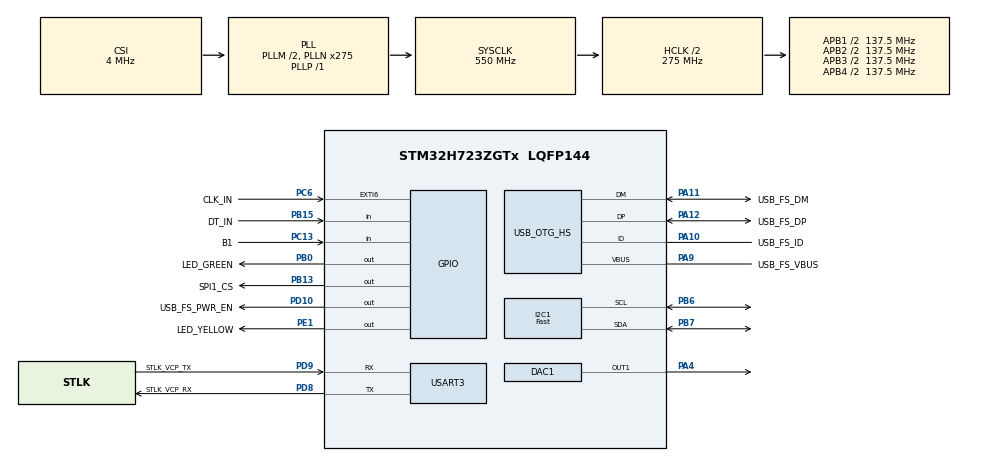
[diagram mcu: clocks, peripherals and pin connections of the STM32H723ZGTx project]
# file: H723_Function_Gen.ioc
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DAC1.DAC_Channel-DAC_OUT1=DAC_CHANNEL_1
DAC1.DAC_Trigger-DAC_OUT1=DAC_TRIGGER_T6_TRGO
Dma.DAC1_CH1.0.Direction=DMA_MEMORY_TO_PERIPH
Dma.DAC1_CH1.0.EventEnable=DISABLE
Dma.DAC1_CH1.0.FIFOMode=DMA_FIFOMODE_ENABLE
Dma.DAC1_CH1.0.FIFOThreshold=DMA_FIFO_THRESHOLD_3QUARTERSFULL
Dma.DAC1_CH1.0.Instance=DMA1_Stream0
Dma.DAC1_CH1.0.MemBurst=DMA_MBURST_SINGLE
Dma.DAC1_CH1.0.MemDataAlignment=DMA_MDATAALIGN_WORD
Dma.DAC1_CH1.0.MemInc=DMA_MINC_ENABLE
Dma.DAC1_CH1.0.Mode=DMA_CIRCULAR
Dma.DAC1_CH1.0.PeriphBurst=DMA_PBURST_SINGLE
Dma.DAC1_CH1.0.PeriphDataAlignment=DMA_PDATAALIGN_WORD
Dma.DAC1_CH1.0.PeriphInc=DMA_PINC_DISABLE
Dma.DAC1_CH1.0.Polarity=HAL_DMAMUX_REQ_GEN_RISING
Dma.DAC1_CH1.0.Priority=DMA_PRIORITY_LOW
Dma.DAC1_CH1.0.RequestNumber=1
Dma.DAC1_CH1.0.SignalID=NONE
Dma.DAC1_CH1.0.SyncEnable=DISABLE
Dma.DAC1_CH1.0.SyncPolarity=HAL_DMAMUX_SYNC_NO_EVENT
Dma.DAC1_CH1.0.SyncRequestNumber=1
Dma.DAC1_CH1.0.SyncSignalID=NONE
Dma.Request0=DAC1_CH1
I2C1.I2C_Speed_Mode=I2C_Fast
I2C1.Timing=0x00D049FB
Mcu.Family=STM32H7
Mcu.Name=STM32H723ZGTx
Mcu.Package=LQFP144
NVIC.DMA1_Stream0_IRQn=true\:0\:0\:false\:false\:true\:false\:true\:true
NVIC.EXTI9_5_IRQn=true\:0\:0\:false\:false\:true\:true\:true\:true
NVIC.PriorityGroup=NVIC_PRIORITYGROUP_4
PA10.GPIO_Label=USB_FS_ID
PA10.Mode=OTG/Dual-Role-Device-FS
PA10.Signal=USB_OTG_HS_ID
PA11.GPIO_Label=USB_FS_DM
PA11.Mode=OTG/Dual-Role-Device-FS
PA11.Signal=USB_OTG_HS_DM
PA12.GPIO_Label=USB_FS_DP
PA12.Mode=OTG/Dual-Role-Device-FS
PA12.Signal=USB_OTG_HS_DP
PA13(JTMS/SWDIO).GPIO_Label=SWDIO
PA13(JTMS/SWDIO).Mode=Trace_Asynchronous_SW
PA13(JTMS/SWDIO).Signal=DEBUG_JTMS-SWDIO
PA14(JTCK/SWCLK).GPIO_Label=SWCLK
PA14(JTCK/SWCLK).Mode=Trace_Asynchronous_SW
PA14(JTCK/SWCLK).Signal=DEBUG_JTCK-SWCLK
PA4.Signal=COMP_DAC11_group
PA9.GPIO_Label=USB_FS_VBUS
PA9.Mode=Activate_VBUS_FS
PA9.Signal=USB_OTG_HS_VBUS
PB0.GPIO_Label=LED_GREEN
PB0.Signal=GPIO_Output
PB13.GPIO_Label=SPI1_CS
PB13.GPIO_Speed=GPIO_SPEED_FREQ_HIGH
PB13.PinState=GPIO_PIN_SET
PB13.Signal=GPIO_Output
PB15.GPIO_Label=DT_IN
PB15.GPIO_PuPd=GPIO_PULLDOWN
PB15.Signal=GPIO_Input
PB3(JTDO/TRACESWO).GPIO_Label=SWO
PB3(JTDO/TRACESWO).Mode=Trace_Asynchronous_SW
PB3(JTDO/TRACESWO).Signal=DEBUG_JTDO-SWO
PB6.Mode=I2C
PB6.Signal=I2C1_SCL
PB7.Mode=I2C
PB7.Signal=I2C1_SDA
PC13.GPIO_Label=B1
PC13.GPIO_PuPd=GPIO_NOPULL
PC13.Signal=GPIO_Input
PC14-OSC32_IN.Mode=LSE-External-Oscillator
PC14-OSC32_IN.Signal=RCC_OSC32_IN
PC15-OSC32_OUT.Mode=LSE-External-Oscillator
PC15-OSC32_OUT.Signal=RCC_OSC32_OUT
PC6.GPIO_Label=CLK_IN
PC6.GPIO_ModeDefaultEXTI=GPIO_MODE_IT_RISING_FALLING
PC6.GPIO_PuPd=GPIO_PULLDOWN
PC6.Signal=GPXTI6
PD10.GPIO_Label=USB_FS_PWR_EN
PD10.Signal=GPIO_Output
PD7.GPIO_Speed=GPIO_SPEED_FREQ_VERY_HIGH
PD7.Signal=SPI1_MOSI
PD8.GPIO_Label=STLK_VCP_RX
PD8.Mode=Asynchronous
PD8.Signal=USART3_TX
PD9.GPIO_Label=STLK_VCP_TX
PD9.Mode=Asynchronous
PD9.Signal=USART3_RX
PE1.GPIO_Label=LED_YELLOW
PE1.Signal=GPIO_Output
PH0-OSC_IN.GPIO_Label=MCO
PH0-OSC_IN.Mode=HSE-External-Oscillator
PH0-OSC_IN.Signal=RCC_OSC_IN
PH1-OSC_OUT.Mode=HSE-External-Oscillator
PH1-OSC_OUT.Signal=RCC_OSC_OUT
ProjectManager.HeapSize=0x200
ProjectManager.StackSize=0x400
ProjectManager.TargetToolchain=STM32CubeIDE
RCC.ADCFreq_Value=38000000
RCC.APB1Freq_Value=137500000
RCC.APB2Freq_Value=137500000
RCC.APB3Freq_Value=137500000
RCC.APB4Freq_Value=137500000
RCC.CortexFreq_Value=550000000
RCC.D1PPRE=RCC_APB3_DIV2
RCC.D2PPRE1=RCC_APB1_DIV2
RCC.D2PPRE2=RCC_APB2_DIV2
RCC.D3PPRE=RCC_APB4_DIV2
RCC.DIVM1=2
RCC.DIVM2=1
RCC.DIVN1=275
RCC.DIVN2=19
RCC.DIVP1=1
RCC.DIVQ1=4
RCC.HCLKFreq_Value=275000000
RCC.HPRE=RCC_HCLK_DIV2
RCC.HSE_VALUE=8000000
RCC.PLLSourceVirtual=RCC_PLLSOURCE_CSI
RCC.SYSCLKFreq_VALUE=550000000
RCC.SYSCLKSource=RCC_SYSCLKSOURCE_PLLCLK
RCC.USBCLockSelection=RCC_USBCLKSOURCE_HSI48
RCC.USBFreq_Value=48000000
SH.COMP_DAC11_group.0=DAC1_OUT1,DAC_OUT1
TIM6.Period=13-1
TIM6.Prescaler=2-1
TIM6.TIM_MasterOutputTrigger=TIM_TRGO_UPDATE
USART3.VirtualMode-Asynchronous=VM_ASYNC
VP_TIM5_VS_ClockSourceINT.Mode=Internal
VP_TIM6_VS_ClockSourceINT.Mode=Enable_Timer
board=NUCLEO-H723ZG

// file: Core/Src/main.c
/* USER CODE BEGIN Header */
/**
  ******************************************************************************
  * @file           : main.c
  * @brief          : Main program body
  ******************************************************************************
  * @attention
  *
  * Copyright (c) 2024 STMicroelectronics.
  * All rights reserved.
  *
  * This software is licensed under terms that can be found in the LICENSE file
  * in the root directory of this software component.
  * If no LICENSE file comes with this software, it is provided AS-IS.
  *
  ******************************************************************************
  */
/* USER CODE END Header */
#include <wgen.h>
#include "main.h"

/* USER CODE BEGIN Includes */
#include "SH1106.h"
#include "fonts.h"
#include "stdio.h"
#include "bitmap.h"
#include "math.h"
/* USER CODE END Includes */

DAC_HandleTypeDef hdac1;
DMA_HandleTypeDef hdma_dac1_ch1;

I2C_HandleTypeDef hi2c1;

TIM_HandleTypeDef htim5;
TIM_HandleTypeDef htim6;

UART_HandleTypeDef huart3;

/* USER CODE BEGIN PV */

volatile uint16_t counter 						=  ROTARY_COUNTER_START;
volatile int8_t newDiff							=  0;
volatile uint8_t isrCalled						=  0;
volatile int8_t counterUp						=  ROTARY_DIRECTION_NONE;

/* USER CODE END PV */

void SystemClock_Config(void);
static void MX_GPIO_Init(void);
static void MX_USART3_UART_Init(void);
static void MX_I2C1_Init(void);
static void MX_DMA_Init(void);
static void MX_TIM5_Init(void);
static void MX_DAC1_Init(void);
static void MX_USB_OTG_HS_USB_Init(void);
static void MX_TIM6_Init(void);

/* USER CODE BEGIN 0 */

// Callback function for rotary encoder interrupt
void HAL_GPIO_EXTI_Callback(uint16_t GPIO_Pin){
	volatile static uint32_t lastInterruptTime	= 0;
	volatile static uint8_t lastCounterValue 	= 0;
	volatile uint32_t interruptTime	= HAL_GetTick();

	if(interruptTime - lastInterruptTime <= 3){
		lastInterruptTime = interruptTime;
		return;
	}
	if(HAL_GPIO_ReadPin(CLK_IN_GPIO_Port, CLK_IN_Pin) ==  GPIO_PIN_RESET){
		if(HAL_GPIO_ReadPin(DT_IN_GPIO_Port, DT_IN_Pin) == GPIO_PIN_RESET){
			counter++;
			counterUp 	= ROTARY_DIRECTION_CLOCK;
		}else{
			counter--;
			counterUp 	= ROTARY_DIRECTION_ANTICLOCK;
		}
	}else{
		if(HAL_GPIO_ReadPin(DT_IN_GPIO_Port, DT_IN_Pin) == GPIO_PIN_RESET){
			counter--;
			counterUp 	= ROTARY_DIRECTION_ANTICLOCK;
		}else{
			counter++;
			counterUp 	= ROTARY_DIRECTION_CLOCK;
		}
	}
	newDiff = counter - lastCounterValue;
	lastCounterValue = counter;
	isrCalled = 1;
	lastInterruptTime = interruptTime;
}

/* USER CODE END 0 */

int main(void)
{

  /* MCU Configuration--------------------------------------------------------*/

  /* Reset of all peripherals, Initializes the Flash interface and the Systick. */
  HAL_Init();

  /* Configure the system clock */
  SystemClock_Config();

  /* Initialize all configured peripherals */
  MX_GPIO_Init();
  MX_USART3_UART_Init();
  MX_I2C1_Init();
  MX_DMA_Init();
  MX_TIM5_Init();
  MX_DAC1_Init();
  MX_USB_OTG_HS_USB_Init();
  MX_TIM6_Init();
  /* USER CODE BEGIN 2 */

  // Initialize I2C OLED
  SH1106_Init();

  wGen_HandleTypeDef wGen;
  wGen = wGen_create();

  lcdInit(&wGen);

  HAL_TIM_Base_Start(&htim6);

  	// Block to update screen to display numbers
  	///////////////////////////////////////////////////////////////
	//  char buf[7];
	//  sprintf(buf, "%d", num);
	//  SH1106_GotoXY(2, 10);
	//  SH1106_Puts(buf, &Font_11x18, 1);
	//  SH1106_UpdateScreen();

  // Show title page for 2s, then goto the main page
  // displaySplashPage(&lcd);

  //updateCursor(&fGen, &lcd);
  //displayMainPage(&fGen, &lcd);

  /* USER CODE END 2 */

  /* Infinite loop */
  /* USER CODE BEGIN WHILE */
  	//convert buffer into 4 bit config + 12 bit data

  while (1){
	  loopUpdate(&wGen);
	  buttonUpdate(&wGen);
	//buttonUpdate(&fGen, &lcd);
    /* USER CODE END WHILE */

  }
}

void SystemClock_Config(void)
{
  RCC_OscInitTypeDef RCC_OscInitStruct = {0};
  RCC_ClkInitTypeDef RCC_ClkInitStruct = {0};

  /** Supply configuration update enable
  */
  HAL_PWREx_ConfigSupply(PWR_LDO_SUPPLY);

  /** Configure the main internal regulator output voltage
  */
  __HAL_PWR_VOLTAGESCALING_CONFIG(PWR_REGULATOR_VOLTAGE_SCALE0);

  while(!__HAL_PWR_GET_FLAG(PWR_FLAG_VOSRDY)) {}

  /** Initializes the RCC Oscillators according to the specified parameters
  * in the RCC_OscInitTypeDef structure.
  */
  RCC_OscInitStruct.OscillatorType = RCC_OSCILLATORTYPE_HSI48|RCC_OSCILLATORTYPE_CSI;
  RCC_OscInitStruct.HSI48State = RCC_HSI48_ON;
  RCC_OscInitStruct.CSIState = RCC_CSI_ON;
  RCC_OscInitStruct.CSICalibrationValue = 16;
  RCC_OscInitStruct.PLL.PLLState = RCC_PLL_ON;
  RCC_OscInitStruct.PLL.PLLSource = RCC_PLLSOURCE_CSI;
  RCC_OscInitStruct.PLL.PLLM = 2;
  RCC_OscInitStruct.PLL.PLLN = 275;
  RCC_OscInitStruct.PLL.PLLP = 1;
  RCC_OscInitStruct.PLL.PLLQ = 4;
  RCC_OscInitStruct.PLL.PLLR = 2;
  RCC_OscInitStruct.PLL.PLLRGE = RCC_PLL1VCIRANGE_1;
  RCC_OscInitStruct.PLL.PLLVCOSEL = RCC_PLL1VCOWIDE;
  RCC_OscInitStruct.PLL.PLLFRACN = 0;
  if (HAL_RCC_OscConfig(&RCC_OscInitStruct) != HAL_OK)
  {
    Error_Handler();
  }

  /** Initializes the CPU, AHB and APB buses clocks
  */
  RCC_ClkInitStruct.ClockType = RCC_CLOCKTYPE_HCLK|RCC_CLOCKTYPE_SYSCLK
                              |RCC_CLOCKTYPE_PCLK1|RCC_CLOCKTYPE_PCLK2
                              |RCC_CLOCKTYPE_D3PCLK1|RCC_CLOCKTYPE_D1PCLK1;
  RCC_ClkInitStruct.SYSCLKSource = RCC_SYSCLKSOURCE_PLLCLK;
  RCC_ClkInitStruct.SYSCLKDivider = RCC_SYSCLK_DIV1;
  RCC_ClkInitStruct.AHBCLKDivider = RCC_HCLK_DIV2;
  RCC_ClkInitStruct.APB3CLKDivider = RCC_APB3_DIV2;
  RCC_ClkInitStruct.APB1CLKDivider = RCC_APB1_DIV2;
  RCC_ClkInitStruct.APB2CLKDivider = RCC_APB2_DIV2;
  RCC_ClkInitStruct.APB4CLKDivider = RCC_APB4_DIV2;

  if (HAL_RCC_ClockConfig(&RCC_ClkInitStruct, FLASH_LATENCY_3) != HAL_OK)
  {
    Error_Handler();
  }
}

static void MX_DAC1_Init(void)
{

  DAC_ChannelConfTypeDef sConfig = {0};

  /** DAC Initialization
  */
  hdac1.Instance = DAC1;
  if (HAL_DAC_Init(&hdac1) != HAL_OK)
  {
    Error_Handler();
  }

  /** DAC channel OUT1 config
  */
  sConfig.DAC_SampleAndHold = DAC_SAMPLEANDHOLD_DISABLE;
  sConfig.DAC_Trigger = DAC_TRIGGER_T6_TRGO;
  sConfig.DAC_OutputBuffer = DAC_OUTPUTBUFFER_ENABLE;
  sConfig.DAC_ConnectOnChipPeripheral = DAC_CHIPCONNECT_DISABLE;
  sConfig.DAC_UserTrimming = DAC_TRIMMING_FACTORY;
  if (HAL_DAC_ConfigChannel(&hdac1, &sConfig, DAC_CHANNEL_1) != HAL_OK)
  {
    Error_Handler();
  }

}

static void MX_I2C1_Init(void)
{

  hi2c1.Instance = I2C1;
  hi2c1.Init.Timing = 0x00D049FB;
  hi2c1.Init.OwnAddress1 = 0;
  hi2c1.Init.AddressingMode = I2C_ADDRESSINGMODE_7BIT;
  hi2c1.Init.DualAddressMode = I2C_DUALADDRESS_DISABLE;
  hi2c1.Init.OwnAddress2 = 0;
  hi2c1.Init.OwnAddress2Masks = I2C_OA2_NOMASK;
  hi2c1.Init.GeneralCallMode = I2C_GENERALCALL_DISABLE;
  hi2c1.Init.NoStretchMode = I2C_NOSTRETCH_DISABLE;
  if (HAL_I2C_Init(&hi2c1) != HAL_OK)
  {
    Error_Handler();
  }

  /** Configure Analogue filter
  */
  if (HAL_I2CEx_ConfigAnalogFilter(&hi2c1, I2C_ANALOGFILTER_ENABLE) != HAL_OK)
  {
    Error_Handler();
  }

  /** Configure Digital filter
  */
  if (HAL_I2CEx_ConfigDigitalFilter(&hi2c1, 0) != HAL_OK)
  {
    Error_Handler();
  }

}

static void MX_TIM5_Init(void)
{

  TIM_ClockConfigTypeDef sClockSourceConfig = {0};
  TIM_MasterConfigTypeDef sMasterConfig = {0};

  htim5.Instance = TIM5;
  htim5.Init.Prescaler = 0;
  htim5.Init.CounterMode = TIM_COUNTERMODE_UP;
  htim5.Init.Period = 4294967295;
  htim5.Init.ClockDivision = TIM_CLOCKDIVISION_DIV1;
  htim5.Init.AutoReloadPreload = TIM_AUTORELOAD_PRELOAD_DISABLE;
  if (HAL_TIM_Base_Init(&htim5) != HAL_OK)
  {
    Error_Handler();
  }
  sClockSourceConfig.ClockSource = TIM_CLOCKSOURCE_INTERNAL;
  if (HAL_TIM_ConfigClockSource(&htim5, &sClockSourceConfig) != HAL_OK)
  {
    Error_Handler();
  }
  sMasterConfig.MasterOutputTrigger = TIM_TRGO_RESET;
  sMasterConfig.MasterSlaveMode = TIM_MASTERSLAVEMODE_DISABLE;
  if (HAL_TIMEx_MasterConfigSynchronization(&htim5, &sMasterConfig) != HAL_OK)
  {
    Error_Handler();
  }

}

static void MX_TIM6_Init(void)
{

  TIM_MasterConfigTypeDef sMasterConfig = {0};

  htim6.Instance = TIM6;
  htim6.Init.Prescaler = 2-1;
  htim6.Init.CounterMode = TIM_COUNTERMODE_UP;
  htim6.Init.Period = 13-1;
  htim6.Init.AutoReloadPreload = TIM_AUTORELOAD_PRELOAD_DISABLE;
  if (HAL_TIM_Base_Init(&htim6) != HAL_OK)
  {
    Error_Handler();
  }
  sMasterConfig.MasterOutputTrigger = TIM_TRGO_UPDATE;
  sMasterConfig.MasterSlaveMode = TIM_MASTERSLAVEMODE_DISABLE;
  if (HAL_TIMEx_MasterConfigSynchronization(&htim6, &sMasterConfig) != HAL_OK)
  {
    Error_Handler();
  }

}

static void MX_USART3_UART_Init(void)
{

  huart3.Instance = USART3;
  huart3.Init.BaudRate = 115200;
  huart3.Init.WordLength = UART_WORDLENGTH_8B;
  huart3.Init.StopBits = UART_STOPBITS_1;
  huart3.Init.Parity = UART_PARITY_NONE;
  huart3.Init.Mode = UART_MODE_TX_RX;
  huart3.Init.HwFlowCtl = UART_HWCONTROL_NONE;
  huart3.Init.OverSampling = UART_OVERSAMPLING_16;
  huart3.Init.OneBitSampling = UART_ONE_BIT_SAMPLE_DISABLE;
  huart3.Init.ClockPrescaler = UART_PRESCALER_DIV1;
  huart3.AdvancedInit.AdvFeatureInit = UART_ADVFEATURE_NO_INIT;
  if (HAL_UART_Init(&huart3) != HAL_OK)
  {
    Error_Handler();
  }
  if (HAL_UARTEx_SetTxFifoThreshold(&huart3, UART_TXFIFO_THRESHOLD_1_8) != HAL_OK)
  {
    Error_Handler();
  }
  if (HAL_UARTEx_SetRxFifoThreshold(&huart3, UART_RXFIFO_THRESHOLD_1_8) != HAL_OK)
  {
    Error_Handler();
  }
  if (HAL_UARTEx_DisableFifoMode(&huart3) != HAL_OK)
  {
    Error_Handler();
  }

}

static void MX_USB_OTG_HS_USB_Init(void)
{

}

static void MX_DMA_Init(void)
{

  /* DMA controller clock enable */
  __HAL_RCC_DMA1_CLK_ENABLE();

  /* DMA interrupt init */
  /* DMA1_Stream0_IRQn interrupt configuration */
  HAL_NVIC_SetPriority(DMA1_Stream0_IRQn, 0, 0);
  HAL_NVIC_EnableIRQ(DMA1_Stream0_IRQn);

}

static void MX_GPIO_Init(void)
{
  GPIO_InitTypeDef GPIO_InitStruct = {0};

  /* GPIO Ports Clock Enable */
  __HAL_RCC_GPIOC_CLK_ENABLE();
  __HAL_RCC_GPIOH_CLK_ENABLE();
  __HAL_RCC_GPIOA_CLK_ENABLE();
  __HAL_RCC_GPIOB_CLK_ENABLE();
  __HAL_RCC_GPIOD_CLK_ENABLE();
  __HAL_RCC_GPIOE_CLK_ENABLE();

  /*Configure GPIO pin Output Level */
  HAL_GPIO_WritePin(LED_GREEN_GPIO_Port, LED_GREEN_Pin, GPIO_PIN_RESET);

  /*Configure GPIO pin Output Level */
  HAL_GPIO_WritePin(SPI1_CS_GPIO_Port, SPI1_CS_Pin, GPIO_PIN_SET);

  /*Configure GPIO pin Output Level */
  HAL_GPIO_WritePin(USB_FS_PWR_EN_GPIO_Port, USB_FS_PWR_EN_Pin, GPIO_PIN_RESET);

  /*Configure GPIO pin Output Level */
  HAL_GPIO_WritePin(LED_YELLOW_GPIO_Port, LED_YELLOW_Pin, GPIO_PIN_RESET);

  /*Configure GPIO pin : B1_Pin */
  GPIO_InitStruct.Pin = B1_Pin;
  GPIO_InitStruct.Mode = GPIO_MODE_INPUT;
  GPIO_InitStruct.Pull = GPIO_NOPULL;
  HAL_GPIO_Init(B1_GPIO_Port, &GPIO_InitStruct);

  /*Configure GPIO pin : LED_GREEN_Pin */
  GPIO_InitStruct.Pin = LED_GREEN_Pin;
  GPIO_InitStruct.Mode = GPIO_MODE_OUTPUT_PP;
  GPIO_InitStruct.Pull = GPIO_NOPULL;
  GPIO_InitStruct.Speed = GPIO_SPEED_FREQ_LOW;
  HAL_GPIO_Init(LED_GREEN_GPIO_Port, &GPIO_InitStruct);

  /*Configure GPIO pin : SPI1_CS_Pin */
  GPIO_InitStruct.Pin = SPI1_CS_Pin;
  GPIO_InitStruct.Mode = GPIO_MODE_OUTPUT_PP;
  GPIO_InitStruct.Pull = GPIO_NOPULL;
  GPIO_InitStruct.Speed = GPIO_SPEED_FREQ_HIGH;
  HAL_GPIO_Init(SPI1_CS_GPIO_Port, &GPIO_InitStruct);

  /*Configure GPIO pin : DT_IN_Pin */
  GPIO_InitStruct.Pin = DT_IN_Pin;
  GPIO_InitStruct.Mode = GPIO_MODE_INPUT;
  GPIO_InitStruct.Pull = GPIO_PULLDOWN;
  HAL_GPIO_Init(DT_IN_GPIO_Port, &GPIO_InitStruct);

  /*Configure GPIO pin : USB_FS_PWR_EN_Pin */
  GPIO_InitStruct.Pin = USB_FS_PWR_EN_Pin;
  GPIO_InitStruct.Mode = GPIO_MODE_OUTPUT_PP;
  GPIO_InitStruct.Pull = GPIO_NOPULL;
  GPIO_InitStruct.Speed = GPIO_SPEED_FREQ_LOW;
  HAL_GPIO_Init(USB_FS_PWR_EN_GPIO_Port, &GPIO_InitStruct);

  /*Configure GPIO pin : CLK_IN_Pin */
  GPIO_InitStruct.Pin = CLK_IN_Pin;
  GPIO_InitStruct.Mode = GPIO_MODE_IT_RISING_FALLING;
  GPIO_InitStruct.Pull = GPIO_PULLDOWN;
  HAL_GPIO_Init(CLK_IN_GPIO_Port, &GPIO_InitStruct);

  /*Configure GPIO pin : USB_FS_VBUS_Pin */
  GPIO_InitStruct.Pin = USB_FS_VBUS_Pin;
  GPIO_InitStruct.Mode = GPIO_MODE_INPUT;
  GPIO_InitStruct.Pull = GPIO_NOPULL;
  HAL_GPIO_Init(USB_FS_VBUS_GPIO_Port, &GPIO_InitStruct);

  /*Configure GPIO pin : USB_FS_ID_Pin */
  GPIO_InitStruct.Pin = USB_FS_ID_Pin;
  GPIO_InitStruct.Mode = GPIO_MODE_AF_PP;
  GPIO_InitStruct.Pull = GPIO_NOPULL;
  GPIO_InitStruct.Speed = GPIO_SPEED_FREQ_LOW;
  GPIO_InitStruct.Alternate = GPIO_AF10_OTG1_HS;
  HAL_GPIO_Init(USB_FS_ID_GPIO_Port, &GPIO_InitStruct);

  /*Configure GPIO pin : PD7 */
  GPIO_InitStruct.Pin = GPIO_PIN_7;
  GPIO_InitStruct.Mode = GPIO_MODE_AF_PP;
  GPIO_InitStruct.Pull = GPIO_NOPULL;
  GPIO_InitStruct.Speed = GPIO_SPEED_FREQ_VERY_HIGH;
  GPIO_InitStruct.Alternate = GPIO_AF5_SPI1;
  HAL_GPIO_Init(GPIOD, &GPIO_InitStruct);

  /*Configure GPIO pin : LED_YELLOW_Pin */
  GPIO_InitStruct.Pin = LED_YELLOW_Pin;
  GPIO_InitStruct.Mode = GPIO_MODE_OUTPUT_PP;
  GPIO_InitStruct.Pull = GPIO_NOPULL;
  GPIO_InitStruct.Speed = GPIO_SPEED_FREQ_LOW;
  HAL_GPIO_Init(LED_YELLOW_GPIO_Port, &GPIO_InitStruct);

  /* EXTI interrupt init*/
  HAL_NVIC_SetPriority(EXTI9_5_IRQn, 0, 0);
  HAL_NVIC_EnableIRQ(EXTI9_5_IRQn);

}

void Error_Handler(void)
{
  __disable_irq();
  while (1)
  {
  }
}
